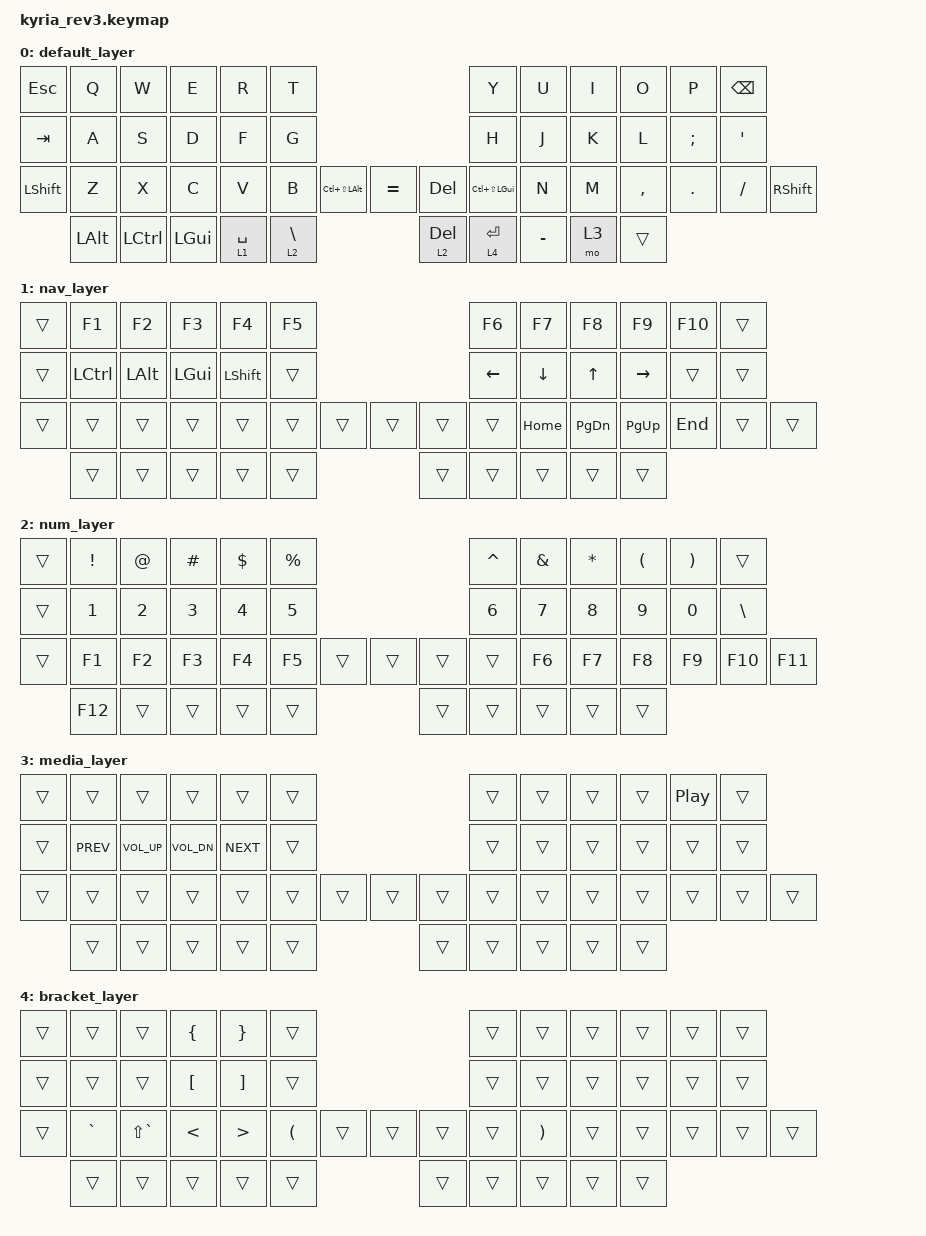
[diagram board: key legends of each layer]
/*
 * Copyright (c) 2023 The ZMK Contributors
 *
 * SPDX-License-Identifier: MIT
 */
#include <behaviors.dtsi>
#include <dt-bindings/zmk/keys.h>
#include <dt-bindings/zmk/bt.h>

/ {
    keymap {
        compatible = "zmk,keymap";

        default_layer {
            bindings = <
                &kp ESC   &kp Q &kp W &kp E &kp R &kp T                                                &kp Y &kp U  &kp I     &kp O   &kp P    &kp BSPC
                &kp TAB   &kp A &kp S &kp D &kp F &kp G                                                &kp H &kp J  &kp K     &kp L   &kp SEMI &kp SQT
                &kp LSHFT &kp Z &kp X &kp C &kp V &kp B &kp LC(LS(LALT)) &kp EQUAL    &kp DEL  &kp LC(LS(LGUI))  &kp N &kp M  &kp COMMA &kp DOT &kp FSLH &kp RSHFT
                            &kp LALT &kp LCTRL &kp LGUI &lt 1 SPACE &lt 2 BSLH    &lt 2 DEL &lt 4 ENTER &kp MINUS &mo 3 &trans
            >;
        };

        nav_layer {
            bindings = <
                &trans &kp F1    &kp F2    &kp F3      &kp F4    &kp F5                                      &kp F6    &kp F7    &kp F8    &kp F9    &kp F10   &trans
                &trans &kp LCTRL &kp LALT  &kp LGUI    &kp LSHFT &trans                                      &kp LEFT  &kp DOWN  &kp UP    &kp RIGHT &trans    &trans
                &trans &trans    &trans    &trans      &trans    &trans    &trans &trans    &trans &trans    &kp HOME  &kp PG_DN &kp PG_UP &kp END   &trans    &trans
                                           &trans      &trans    &trans    &trans &trans    &trans &trans    &trans    &trans    &trans
            >;
        };

        num_layer {
            bindings = <
                &trans &kp EXCL  &kp AT    &kp HASH  &kp DLLR  &kp PRCNT                                     &kp CARET &kp AMPS  &kp STAR  &kp LPAR  &kp RPAR  &trans
                &trans &kp N1    &kp N2    &kp N3    &kp N4    &kp N5                                        &kp N6    &kp N7    &kp N8    &kp N9    &kp N0    &kp BSLH
                &trans &kp F1    &kp F2    &kp F3    &kp F4    &kp F5    &trans &trans    &trans &trans      &kp F6    &kp F7    &kp F8    &kp F9    &kp F10    &kp F11
                                           &kp F12    &trans    &trans    &trans &trans    &trans &trans      &trans    &trans    &trans
            >;
        };

        media_layer {
            bindings = <
                &trans &trans &trans &trans &trans &trans                                  &trans &trans &trans &trans &kp C_PP &trans
                &trans &kp C_PREV &kp C_VOL_UP &kp C_VOL_DN &kp C_NEXT &trans              &trans &trans &trans &trans &trans &trans
                &trans &trans &trans &trans &trans &trans &trans &trans    &trans &trans   &trans &trans &trans &trans &trans &trans
                                     &trans &trans &trans &trans &trans    &trans &trans &trans &trans &trans
            >;
        };

        bracket_layer {
            bindings = <
                &trans &trans &trans &kp LBRC &kp RBRC &trans                                  &trans &trans &trans &trans &trans &trans
                &trans &trans &trans &kp LBKT &kp RBKT &trans                                  &trans &trans &trans &trans &trans &trans
                &trans &kp GRAVE &kp LS(GRAVE) &kp LT   &kp GT   &kp LPAR &trans &trans    &trans &trans &kp RPAR &trans &trans &trans &trans &trans
                                     &trans &trans &trans &trans &trans    &trans &trans &trans &trans &trans
            >;
        };
    };
};
